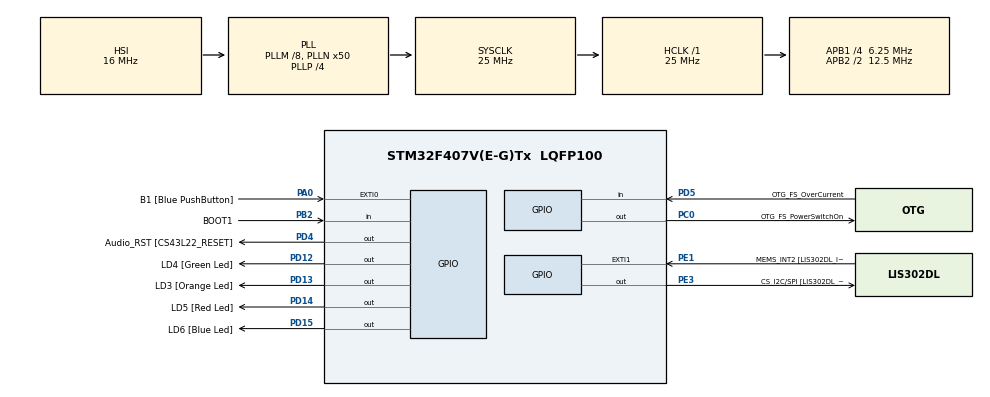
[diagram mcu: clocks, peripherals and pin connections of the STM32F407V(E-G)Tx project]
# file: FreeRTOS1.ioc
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Mcu.Family=STM32F4
Mcu.Name=STM32F407V(E-G)Tx
Mcu.Package=LQFP100
NVIC.PriorityGroup=NVIC_PRIORITYGROUP_4
NVIC.TIM6_DAC_IRQn=true\:0\:0\:false\:false\:true\:false\:true\:true
NVIC.TimeBase=TIM6_DAC_IRQn
NVIC.TimeBaseIP=TIM6
PA0-WKUP.GPIO_Label=B1 [Blue PushButton]
PA0-WKUP.Signal=GPXTI0
PA10.GPIO_Label=OTG_FS_ID
PA10.GPIO_Mode=GPIO_MODE_AF_PP
PA10.GPIO_PuPd=GPIO_NOPULL
PA10.GPIO_Speed=GPIO_SPEED_FREQ_LOW
PA10.Signal=USB_OTG_FS_ID
PA11.GPIO_Label=OTG_FS_DM
PA11.GPIO_Mode=GPIO_MODE_AF_PP
PA11.GPIO_PuPd=GPIO_NOPULL
PA11.GPIO_Speed=GPIO_SPEED_FREQ_LOW
PA11.Signal=USB_OTG_FS_DM
PA12.GPIO_Label=OTG_FS_DP
PA12.GPIO_Mode=GPIO_MODE_AF_PP
PA12.GPIO_PuPd=GPIO_NOPULL
PA12.GPIO_Speed=GPIO_SPEED_FREQ_LOW
PA12.Signal=USB_OTG_FS_DP
PA13.GPIO_Label=SWDIO
PA13.Signal=SYS_JTMS-SWDIO
PA14.GPIO_Label=SWCLK
PA14.Signal=SYS_JTCK-SWCLK
PA4.GPIO_Label=I2S3_WS [CS43L22_LRCK]
PA4.GPIO_Mode=GPIO_MODE_AF_PP
PA4.GPIO_PuPd=GPIO_NOPULL
PA4.GPIO_Speed=GPIO_SPEED_FREQ_LOW
PA4.Signal=I2S3_WS
PA5.GPIO_Label=SPI1_SCK [LIS302DL_SCL/SPC]
PA5.GPIO_Mode=GPIO_MODE_AF_PP
PA5.GPIO_PuPd=GPIO_NOPULL
PA5.GPIO_Speed=GPIO_SPEED_FREQ_LOW
PA5.Signal=SPI1_SCK
PA6.GPIO_Label=SPI1_MISO [LIS302DL_SDO]
PA6.GPIO_Mode=GPIO_MODE_AF_PP
PA6.GPIO_PuPd=GPIO_NOPULL
PA6.GPIO_Speed=GPIO_SPEED_FREQ_LOW
PA6.Signal=SPI1_MISO
PA7.GPIO_Label=SPI1_MOSI [LIS302DL_SDA/SDI/SDO]
PA7.GPIO_Mode=GPIO_MODE_AF_PP
PA7.GPIO_PuPd=GPIO_NOPULL
PA7.GPIO_Speed=GPIO_SPEED_FREQ_LOW
PA7.Signal=SPI1_MOSI
PA9.GPIO_Label=VBUS_FS
PA9.GPIO_Mode=GPIO_MODE_INPUT
PA9.GPIO_PuPd=GPIO_NOPULL
PA9.Signal=USB_OTG_FS_VBUS
PB10.GPIO_Label=CLK_IN [MP45DT02_CLK]
PB10.GPIO_Mode=GPIO_MODE_AF_PP
PB10.GPIO_PuPd=GPIO_NOPULL
PB10.GPIO_Speed=GPIO_SPEED_FREQ_LOW
PB10.Signal=I2S2_CK
PB2.GPIO_Label=BOOT1
PB2.GPIO_Mode=GPIO_MODE_INPUT
PB2.GPIO_PuPd=GPIO_NOPULL
PB2.Signal=GPIO_Input
PB3.GPIO_Label=SWO
PB3.Signal=SYS_JTDO-SWO
PB6.GPIO_Label=Audio_SCL [CS43L22_SCL]
PB6.GPIO_Mode=GPIO_MODE_AF_OD
PB6.GPIO_PuPd=GPIO_NOPULL
PB6.GPIO_Speed=GPIO_SPEED_FREQ_LOW
PB6.Signal=I2C1_SCL
PB9.GPIO_Label=Audio_SDA [CS43L22_SDA]
PB9.GPIO_Mode=GPIO_MODE_AF_OD
PB9.GPIO_PuPd=GPIO_NOPULL
PB9.GPIO_Speed=GPIO_SPEED_FREQ_LOW
PB9.Signal=I2C1_SDA
PC0.GPIO_Label=OTG_FS_PowerSwitchOn
PC0.GPIO_PuPd=GPIO_NOPULL
PC0.GPIO_Speed=GPIO_SPEED_FREQ_LOW
PC0.PinState=GPIO_PIN_SET
PC0.Signal=GPIO_Output
PC10.GPIO_Label=I2S3_SCK [CS43L22_SCLK]
PC10.GPIO_Mode=GPIO_MODE_AF_PP
PC10.GPIO_PuPd=GPIO_NOPULL
PC10.GPIO_Speed=GPIO_SPEED_FREQ_LOW
PC10.Signal=I2S3_CK
PC12.GPIO_Label=I2S3_SD [CS43L22_SDIN]
PC12.GPIO_Mode=GPIO_MODE_AF_PP
PC12.GPIO_PuPd=GPIO_NOPULL
PC12.GPIO_Speed=GPIO_SPEED_FREQ_LOW
PC12.Signal=I2S3_SD
PC14-OSC32_IN.GPIO_Label=PC14-OSC32_IN
PC14-OSC32_IN.Signal=RCC_OSC32_IN
PC15-OSC32_OUT.GPIO_Label=PC15-OSC32_OUT
PC15-OSC32_OUT.Signal=RCC_OSC32_OUT
PC3.GPIO_Label=PDM_OUT [MP45DT02_DOUT]
PC3.GPIO_Mode=GPIO_MODE_AF_PP
PC3.GPIO_PuPd=GPIO_NOPULL
PC3.GPIO_Speed=GPIO_SPEED_FREQ_LOW
PC3.Signal=I2S2_SD
PC7.GPIO_Label=I2S3_MCK [CS43L22_MCLK]
PC7.GPIO_Mode=GPIO_MODE_AF_PP
PC7.GPIO_PuPd=GPIO_NOPULL
PC7.GPIO_Speed=GPIO_SPEED_FREQ_LOW
PC7.Signal=I2S3_MCK
PD12.GPIO_Label=LD4 [Green Led]
PD12.GPIO_PuPd=GPIO_NOPULL
PD12.GPIO_Speed=GPIO_SPEED_FREQ_LOW
PD12.Signal=GPIO_Output
PD13.GPIO_Label=LD3 [Orange Led]
PD13.GPIO_PuPd=GPIO_NOPULL
PD13.GPIO_Speed=GPIO_SPEED_FREQ_LOW
PD13.Signal=GPIO_Output
PD14.GPIO_Label=LD5 [Red Led]
PD14.GPIO_PuPd=GPIO_NOPULL
PD14.GPIO_Speed=GPIO_SPEED_FREQ_LOW
PD14.Signal=GPIO_Output
PD15.GPIO_Label=LD6 [Blue Led]
PD15.GPIO_PuPd=GPIO_NOPULL
PD15.GPIO_Speed=GPIO_SPEED_FREQ_LOW
PD15.Signal=GPIO_Output
PD4.GPIO_Label=Audio_RST [CS43L22_RESET]
PD4.GPIO_PuPd=GPIO_NOPULL
PD4.GPIO_Speed=GPIO_SPEED_FREQ_LOW
PD4.Signal=GPIO_Output
PD5.GPIO_Label=OTG_FS_OverCurrent
PD5.GPIO_Mode=GPIO_MODE_INPUT
PD5.GPIO_PuPd=GPIO_NOPULL
PD5.Signal=GPIO_Input
PE1.GPIO_Label=MEMS_INT2 [LIS302DL_INT2]
PE1.GPIO_ModeDefaultEXTI=GPIO_MODE_EVT_RISING
PE1.GPIO_PuPd=GPIO_NOPULL
PE1.Signal=GPXTI1
PE3.GPIO_Label=CS_I2C/SPI [LIS302DL_CS_I2C/SPI]
PE3.GPIO_PuPd=GPIO_NOPULL
PE3.GPIO_Speed=GPIO_SPEED_FREQ_LOW
PE3.Signal=GPIO_Output
PH0-OSC_IN.GPIO_Label=PH0-OSC_IN
PH0-OSC_IN.Signal=RCC_OSC_IN
PH1-OSC_OUT.GPIO_Label=PH1-OSC_OUT
PH1-OSC_OUT.Signal=RCC_OSC_OUT
ProjectManager.HeapSize=0x200
ProjectManager.StackSize=0x400
ProjectManager.TargetToolchain=STM32CubeIDE
RCC.48MHZClocksFreq_Value=14285714.285714285
RCC.AHBFreq_Value=25000000
RCC.APB1CLKDivider=RCC_HCLK_DIV4
RCC.APB1Freq_Value=6250000
RCC.APB1TimFreq_Value=12500000
RCC.APB2CLKDivider=RCC_HCLK_DIV2
RCC.APB2Freq_Value=12500000
RCC.APB2TimFreq_Value=25000000
RCC.CortexFreq_Value=25000000
RCC.HCLKFreq_Value=25000000
RCC.HSE_VALUE=8000000
RCC.HSI_VALUE=16000000
RCC.LSE_VALUE=32768
RCC.PLLM=8
RCC.PLLN=50
RCC.PLLP=RCC_PLLP_DIV4
RCC.PLLQ=7
RCC.SYSCLKFreq_VALUE=25000000
RCC.SYSCLKSource=RCC_SYSCLKSOURCE_PLLCLK
RCC.VCOOutputFreq_Value=100000000
VP_SYS_VS_tim6.Mode=TIM6
board=STM32F407G-DISC1

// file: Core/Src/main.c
/* USER CODE BEGIN Header */
/**
  ******************************************************************************
  * @file           : main.c
  * @brief          : Main program body
  ******************************************************************************
  * @attention
  *
  * Copyright (c) 2026 STMicroelectronics.
  * All rights reserved.
  *
  * This software is licensed under terms that can be found in the LICENSE file
  * in the root directory of this software component.
  * If no LICENSE file comes with this software, it is provided AS-IS.
  *
  ******************************************************************************
  */
/* USER CODE END Header */
#include "main.h"

/* USER CODE BEGIN Includes */
#include <stdio.h>
#include "FreeRTOS.h"
#include "task.h"
/* USER CODE END Includes */

/* USER CODE BEGIN PV */

#define DWT_CTRL	(*(volatile uint32_t*)0xE0001000)

/* USER CODE END PV */

void SystemClock_Config(void);
static void MX_GPIO_Init(void);
/* USER CODE BEGIN PFP */

static void task1_handler(void* parameters);
static void task2_handler(void* parameters);

/* USER CODE END PFP */

int main(void)
{

  /* USER CODE BEGIN 1 */
	TaskHandle_t task1_handle;
	TaskHandle_t task2_handle;

	BaseType_t status;
  /* USER CODE END 1 */

  /* MCU Configuration--------------------------------------------------------*/

  /* Reset of all peripherals, Initializes the Flash interface and the Systick. */
  HAL_Init();

  /* Configure the system clock */
  SystemClock_Config();

  /* Initialize all configured peripherals */
  MX_GPIO_Init();
  /* USER CODE BEGIN 2 */

  //Enable the CYCCNT Counter
  DWT_CTRL |= (1 << 0);

  SEGGER_SYSVIEW_Conf();

  SEGGER_SYSVIEW_Start();

  status = xTaskCreate(task1_handler, "Task-1", 200, "Hello World From Task-1", 2, &task1_handle);

  configASSERT(status == pdPASS);

  status = xTaskCreate(task2_handler, "Task-2", 200, "Hello World From Task-2", 2, &task2_handle);

  configASSERT(status == pdPASS);

  //Start the FreeRTOS Scheduler
  vTaskStartScheduler();

  /* USER CODE END 2 */

  /* Infinite loop */
  while (1)
  {

  }
}

void SystemClock_Config(void)
{
  RCC_OscInitTypeDef RCC_OscInitStruct = {0};
  RCC_ClkInitTypeDef RCC_ClkInitStruct = {0};

  /** Configure the main internal regulator output voltage
  */
  __HAL_RCC_PWR_CLK_ENABLE();
  __HAL_PWR_VOLTAGESCALING_CONFIG(PWR_REGULATOR_VOLTAGE_SCALE1);

  /** Initializes the RCC Oscillators according to the specified parameters
  * in the RCC_OscInitTypeDef structure.
  */
  RCC_OscInitStruct.OscillatorType = RCC_OSCILLATORTYPE_HSI;
  RCC_OscInitStruct.HSIState = RCC_HSI_ON;
  RCC_OscInitStruct.HSICalibrationValue = RCC_HSICALIBRATION_DEFAULT;
  RCC_OscInitStruct.PLL.PLLState = RCC_PLL_ON;
  RCC_OscInitStruct.PLL.PLLSource = RCC_PLLSOURCE_HSI;
  RCC_OscInitStruct.PLL.PLLM = 8;
  RCC_OscInitStruct.PLL.PLLN = 50;
  RCC_OscInitStruct.PLL.PLLP = RCC_PLLP_DIV4;
  RCC_OscInitStruct.PLL.PLLQ = 7;
  if (HAL_RCC_OscConfig(&RCC_OscInitStruct) != HAL_OK)
  {
    Error_Handler();
  }

  /** Initializes the CPU, AHB and APB buses clocks
  */
  RCC_ClkInitStruct.ClockType = RCC_CLOCKTYPE_HCLK|RCC_CLOCKTYPE_SYSCLK
                              |RCC_CLOCKTYPE_PCLK1|RCC_CLOCKTYPE_PCLK2;
  RCC_ClkInitStruct.SYSCLKSource = RCC_SYSCLKSOURCE_PLLCLK;
  RCC_ClkInitStruct.AHBCLKDivider = RCC_SYSCLK_DIV1;
  RCC_ClkInitStruct.APB1CLKDivider = RCC_HCLK_DIV4;
  RCC_ClkInitStruct.APB2CLKDivider = RCC_HCLK_DIV2;

  if (HAL_RCC_ClockConfig(&RCC_ClkInitStruct, FLASH_LATENCY_0) != HAL_OK)
  {
    Error_Handler();
  }
}

static void MX_GPIO_Init(void)
{
  GPIO_InitTypeDef GPIO_InitStruct = {0};

  /* GPIO Ports Clock Enable */
  __HAL_RCC_GPIOE_CLK_ENABLE();
  __HAL_RCC_GPIOC_CLK_ENABLE();
  __HAL_RCC_GPIOH_CLK_ENABLE();
  __HAL_RCC_GPIOA_CLK_ENABLE();
  __HAL_RCC_GPIOB_CLK_ENABLE();
  __HAL_RCC_GPIOD_CLK_ENABLE();

  /*Configure GPIO pin Output Level */
  HAL_GPIO_WritePin(CS_I2C_SPI_GPIO_Port, CS_I2C_SPI_Pin, GPIO_PIN_RESET);

  /*Configure GPIO pin Output Level */
  HAL_GPIO_WritePin(OTG_FS_PowerSwitchOn_GPIO_Port, OTG_FS_PowerSwitchOn_Pin, GPIO_PIN_SET);

  /*Configure GPIO pin Output Level */
  HAL_GPIO_WritePin(GPIOD, LD4_Pin|LD3_Pin|LD5_Pin|LD6_Pin
                          |Audio_RST_Pin, GPIO_PIN_RESET);

  /*Configure GPIO pin : CS_I2C_SPI_Pin */
  GPIO_InitStruct.Pin = CS_I2C_SPI_Pin;
  GPIO_InitStruct.Mode = GPIO_MODE_OUTPUT_PP;
  GPIO_InitStruct.Pull = GPIO_NOPULL;
  GPIO_InitStruct.Speed = GPIO_SPEED_FREQ_LOW;
  HAL_GPIO_Init(CS_I2C_SPI_GPIO_Port, &GPIO_InitStruct);

  /*Configure GPIO pin : OTG_FS_PowerSwitchOn_Pin */
  GPIO_InitStruct.Pin = OTG_FS_PowerSwitchOn_Pin;
  GPIO_InitStruct.Mode = GPIO_MODE_OUTPUT_PP;
  GPIO_InitStruct.Pull = GPIO_NOPULL;
  GPIO_InitStruct.Speed = GPIO_SPEED_FREQ_LOW;
  HAL_GPIO_Init(OTG_FS_PowerSwitchOn_GPIO_Port, &GPIO_InitStruct);

  /*Configure GPIO pin : PDM_OUT_Pin */
  GPIO_InitStruct.Pin = PDM_OUT_Pin;
  GPIO_InitStruct.Mode = GPIO_MODE_AF_PP;
  GPIO_InitStruct.Pull = GPIO_NOPULL;
  GPIO_InitStruct.Speed = GPIO_SPEED_FREQ_LOW;
  GPIO_InitStruct.Alternate = GPIO_AF5_SPI2;
  HAL_GPIO_Init(PDM_OUT_GPIO_Port, &GPIO_InitStruct);

  /*Configure GPIO pin : B1_Pin */
  GPIO_InitStruct.Pin = B1_Pin;
  GPIO_InitStruct.Mode = GPIO_MODE_IT_RISING;
  GPIO_InitStruct.Pull = GPIO_NOPULL;
  HAL_GPIO_Init(B1_GPIO_Port, &GPIO_InitStruct);

  /*Configure GPIO pin : I2S3_WS_Pin */
  GPIO_InitStruct.Pin = I2S3_WS_Pin;
  GPIO_InitStruct.Mode = GPIO_MODE_AF_PP;
  GPIO_InitStruct.Pull = GPIO_NOPULL;
  GPIO_InitStruct.Speed = GPIO_SPEED_FREQ_LOW;
  GPIO_InitStruct.Alternate = GPIO_AF6_SPI3;
  HAL_GPIO_Init(I2S3_WS_GPIO_Port, &GPIO_InitStruct);

  /*Configure GPIO pins : SPI1_SCK_Pin SPI1_MISO_Pin SPI1_MOSI_Pin */
  GPIO_InitStruct.Pin = SPI1_SCK_Pin|SPI1_MISO_Pin|SPI1_MOSI_Pin;
  GPIO_InitStruct.Mode = GPIO_MODE_AF_PP;
  GPIO_InitStruct.Pull = GPIO_NOPULL;
  GPIO_InitStruct.Speed = GPIO_SPEED_FREQ_LOW;
  GPIO_InitStruct.Alternate = GPIO_AF5_SPI1;
  HAL_GPIO_Init(GPIOA, &GPIO_InitStruct);

  /*Configure GPIO pin : BOOT1_Pin */
  GPIO_InitStruct.Pin = BOOT1_Pin;
  GPIO_InitStruct.Mode = GPIO_MODE_INPUT;
  GPIO_InitStruct.Pull = GPIO_NOPULL;
  HAL_GPIO_Init(BOOT1_GPIO_Port, &GPIO_InitStruct);

  /*Configure GPIO pin : CLK_IN_Pin */
  GPIO_InitStruct.Pin = CLK_IN_Pin;
  GPIO_InitStruct.Mode = GPIO_MODE_AF_PP;
  GPIO_InitStruct.Pull = GPIO_NOPULL;
  GPIO_InitStruct.Speed = GPIO_SPEED_FREQ_LOW;
  GPIO_InitStruct.Alternate = GPIO_AF5_SPI2;
  HAL_GPIO_Init(CLK_IN_GPIO_Port, &GPIO_InitStruct);

  /*Configure GPIO pins : LD4_Pin LD3_Pin LD5_Pin LD6_Pin
                           Audio_RST_Pin */
  GPIO_InitStruct.Pin = LD4_Pin|LD3_Pin|LD5_Pin|LD6_Pin
                          |Audio_RST_Pin;
  GPIO_InitStruct.Mode = GPIO_MODE_OUTPUT_PP;
  GPIO_InitStruct.Pull = GPIO_NOPULL;
  GPIO_InitStruct.Speed = GPIO_SPEED_FREQ_LOW;
  HAL_GPIO_Init(GPIOD, &GPIO_InitStruct);

  /*Configure GPIO pins : I2S3_MCK_Pin I2S3_SCK_Pin I2S3_SD_Pin */
  GPIO_InitStruct.Pin = I2S3_MCK_Pin|I2S3_SCK_Pin|I2S3_SD_Pin;
  GPIO_InitStruct.Mode = GPIO_MODE_AF_PP;
  GPIO_InitStruct.Pull = GPIO_NOPULL;
  GPIO_InitStruct.Speed = GPIO_SPEED_FREQ_LOW;
  GPIO_InitStruct.Alternate = GPIO_AF6_SPI3;
  HAL_GPIO_Init(GPIOC, &GPIO_InitStruct);

  /*Configure GPIO pin : VBUS_FS_Pin */
  GPIO_InitStruct.Pin = VBUS_FS_Pin;
  GPIO_InitStruct.Mode = GPIO_MODE_INPUT;
  GPIO_InitStruct.Pull = GPIO_NOPULL;
  HAL_GPIO_Init(VBUS_FS_GPIO_Port, &GPIO_InitStruct);

  /*Configure GPIO pins : OTG_FS_ID_Pin OTG_FS_DM_Pin OTG_FS_DP_Pin */
  GPIO_InitStruct.Pin = OTG_FS_ID_Pin|OTG_FS_DM_Pin|OTG_FS_DP_Pin;
  GPIO_InitStruct.Mode = GPIO_MODE_AF_PP;
  GPIO_InitStruct.Pull = GPIO_NOPULL;
  GPIO_InitStruct.Speed = GPIO_SPEED_FREQ_LOW;
  GPIO_InitStruct.Alternate = GPIO_AF10_OTG_FS;
  HAL_GPIO_Init(GPIOA, &GPIO_InitStruct);

  /*Configure GPIO pin : OTG_FS_OverCurrent_Pin */
  GPIO_InitStruct.Pin = OTG_FS_OverCurrent_Pin;
  GPIO_InitStruct.Mode = GPIO_MODE_INPUT;
  GPIO_InitStruct.Pull = GPIO_NOPULL;
  HAL_GPIO_Init(OTG_FS_OverCurrent_GPIO_Port, &GPIO_InitStruct);

  /*Configure GPIO pins : Audio_SCL_Pin Audio_SDA_Pin */
  GPIO_InitStruct.Pin = Audio_SCL_Pin|Audio_SDA_Pin;
  GPIO_InitStruct.Mode = GPIO_MODE_AF_OD;
  GPIO_InitStruct.Pull = GPIO_NOPULL;
  GPIO_InitStruct.Speed = GPIO_SPEED_FREQ_LOW;
  GPIO_InitStruct.Alternate = GPIO_AF4_I2C1;
  HAL_GPIO_Init(GPIOB, &GPIO_InitStruct);

  /*Configure GPIO pin : MEMS_INT2_Pin */
  GPIO_InitStruct.Pin = MEMS_INT2_Pin;
  GPIO_InitStruct.Mode = GPIO_MODE_EVT_RISING;
  GPIO_InitStruct.Pull = GPIO_NOPULL;
  HAL_GPIO_Init(MEMS_INT2_GPIO_Port, &GPIO_InitStruct);

}

/* USER CODE BEGIN 4 */
static void task1_handler(void* parameters)
{

	while(1)
	{
		printf("%s\n", (char*)parameters);
		taskYIELD();
	}
}

static void task2_handler(void* parameters)
{

	while(1)
	{
		printf("%s\n", (char*)parameters);
		taskYIELD();
	}
}

/* USER CODE END 4 */

void HAL_TIM_PeriodElapsedCallback(TIM_HandleTypeDef *htim)
{
  if (htim->Instance == TIM6)
  {
    HAL_IncTick();
  }
}

void Error_Handler(void)
{
  __disable_irq();
  while (1)
  {
  }
}
